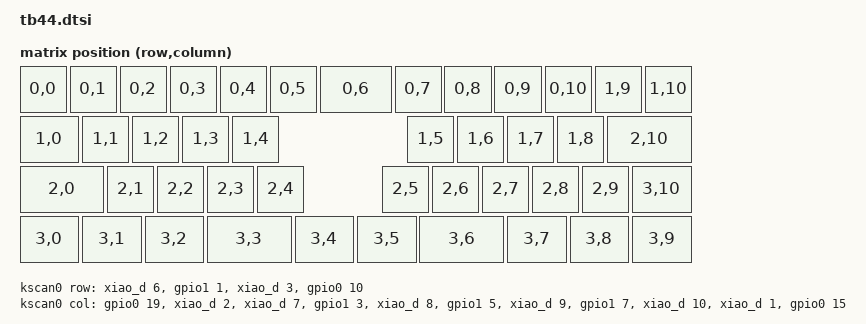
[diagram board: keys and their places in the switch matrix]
#include <dt-bindings/zmk/matrix_transform.h>
#include <physical_layouts.dtsi>

/ {
    chosen {
        zmk,physical-layout = &tb44_physical_layout;
    };

    tb44_physical_layout: tb44_physical_layout {
        compatible = "zmk,physical-layout";
        display-name = "Default";
        transform = <&default_transform>;
        kscan = <&kscan0>;

        keys  //                     w   h    x    y     rot    rx    ry
            = <&key_physical_attrs 100 100    0    0       0     0     0>
            , <&key_physical_attrs 100 100  100    0       0     0     0>
            , <&key_physical_attrs 100 100  200    0       0     0     0>
            , <&key_physical_attrs 100 100  300    0       0     0     0>
            , <&key_physical_attrs 100 100  400    0       0     0     0>
            , <&key_physical_attrs 100 100  500    0       0     0     0>
            , <&key_physical_attrs 150 100  600    0       0     0     0>
            , <&key_physical_attrs 100 100  750    0       0     0     0>
            , <&key_physical_attrs 100 100  850    0       0     0     0>
            , <&key_physical_attrs 100 100  950    0       0     0     0>
            , <&key_physical_attrs 100 100 1050    0       0     0     0>

            , <&key_physical_attrs 125 100    0  100       0     0     0>
            , <&key_physical_attrs 100 100  125  100       0     0     0>
            , <&key_physical_attrs 100 100  225  100       0     0     0>
            , <&key_physical_attrs 100 100  325  100       0     0     0>
            , <&key_physical_attrs 100 100  425  100       0     0     0>
            , <&key_physical_attrs 100 100  775  100       0     0     0>
            , <&key_physical_attrs 100 100  875  100       0     0     0>
            , <&key_physical_attrs 100 100  975  100       0     0     0>
            , <&key_physical_attrs 100 100 1075  100       0     0     0>
            , <&key_physical_attrs 100 100 1150    0       0     0     0>
            , <&key_physical_attrs 100 100 1250    0       0     0     0>

            , <&key_physical_attrs 175 100    0  200       0     0     0>
            , <&key_physical_attrs 100 100  175  200       0     0     0>
            , <&key_physical_attrs 100 100  275  200       0     0     0>
            , <&key_physical_attrs 100 100  375  200       0     0     0>
            , <&key_physical_attrs 100 100  475  200       0     0     0>
            , <&key_physical_attrs 100 100  725  200       0     0     0>
            , <&key_physical_attrs 100 100  825  200       0     0     0>
            , <&key_physical_attrs 100 100  925  200       0     0     0>
            , <&key_physical_attrs 100 100 1025  200       0     0     0>
            , <&key_physical_attrs 100 100 1125  200       0     0     0>
            , <&key_physical_attrs 175 100 1175  100       0     0     0>

            , <&key_physical_attrs 125 100    0  300       0     0     0>
            , <&key_physical_attrs 125 100  125  300       0     0     0>
            , <&key_physical_attrs 125 100  250  300       0     0     0>
            , <&key_physical_attrs 175 100  375  300       0     0     0>
            , <&key_physical_attrs 125 100  550  300       0     0     0>
            , <&key_physical_attrs 125 100  675  300       0     0     0>
            , <&key_physical_attrs 175 100  800  300       0     0     0>
            , <&key_physical_attrs 125 100  975  300       0     0     0>
            , <&key_physical_attrs 125 100 1100  300       0     0     0>
            , <&key_physical_attrs 125 100 1225  300       0     0     0>
            , <&key_physical_attrs 125 100 1225  200       0     0     0>
            ;
    };

    default_transform: keymap_transform_0 {
        compatible = "zmk,matrix-transform";
        columns = <11>;
        rows = <4>;
        map = <
            RC(0,0) RC(0,1) RC(0,2) RC(0,3) RC(0,4) RC(0,5) RC(0,6) RC(0,7) RC(0,8) RC(0,9) RC(0,10)
            RC(1,0) RC(1,1) RC(1,2) RC(1,3) RC(1,4) RC(1,5) RC(1,6) RC(1,7) RC(1,8) RC(1,9) RC(1,10)
            RC(2,0) RC(2,1) RC(2,2) RC(2,3) RC(2,4) RC(2,5) RC(2,6) RC(2,7) RC(2,8) RC(2,9) RC(2,10)
            RC(3,0) RC(3,1) RC(3,2) RC(3,3) RC(3,4) RC(3,5) RC(3,6) RC(3,7) RC(3,8) RC(3,9) RC(3,10)
        >;
    };

    kscan0: kscan {
        compatible = "zmk,kscan-gpio-matrix";
        label = "KSCAN";
        diode-direction = "col2row";
            col-gpios
                = <&gpio0 19 GPIO_ACTIVE_HIGH>
                , <&xiao_d 2 GPIO_ACTIVE_HIGH>
                , <&xiao_d 7 GPIO_ACTIVE_HIGH>
                , <&gpio1 3 GPIO_ACTIVE_HIGH>
                , <&xiao_d 8 GPIO_ACTIVE_HIGH>
                , <&gpio1 5 GPIO_ACTIVE_HIGH>
                , <&xiao_d 9 GPIO_ACTIVE_HIGH>
                , <&gpio1 7 GPIO_ACTIVE_HIGH>
                , <&xiao_d 10 GPIO_ACTIVE_HIGH>
                , <&xiao_d 1 GPIO_ACTIVE_HIGH>
                , <&gpio0 15 GPIO_ACTIVE_HIGH>
                ;
            row-gpios
                = <&xiao_d 6 (GPIO_ACTIVE_HIGH | GPIO_PULL_DOWN)>
                , <&gpio1 1 (GPIO_ACTIVE_HIGH | GPIO_PULL_DOWN)>
                , <&xiao_d 3 (GPIO_ACTIVE_HIGH | GPIO_PULL_DOWN)>
                , <&gpio0 10 (GPIO_ACTIVE_HIGH | GPIO_PULL_DOWN)>
                ;
    };
};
